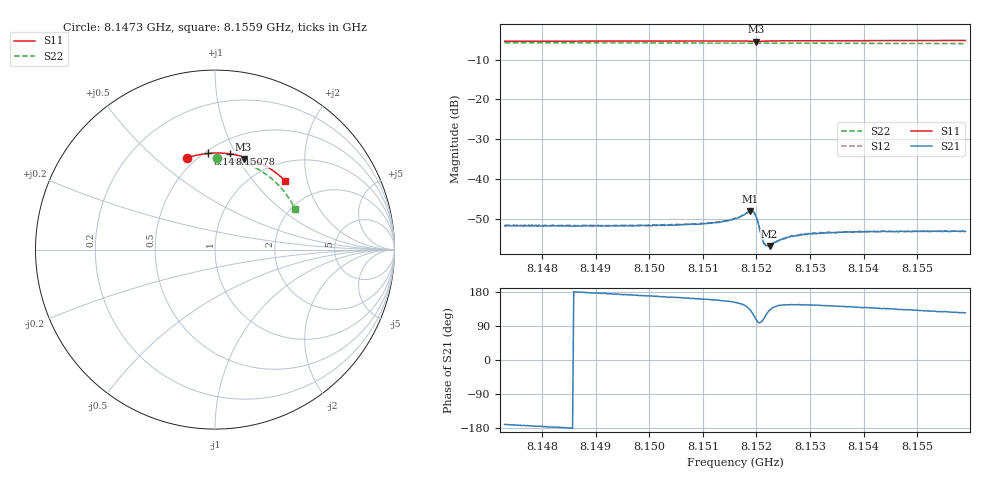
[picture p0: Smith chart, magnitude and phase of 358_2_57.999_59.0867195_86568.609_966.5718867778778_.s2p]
#  HZ  S  RI  R  50.00
! Rohde & Schwarz Vector Network Analyzer
! Rohde-Schwarz,ZNB20-2Port,1311601062101988,3.16
! Created: UTC 3/21/2024, 1:06:18 AM
! freq[Hz]  re:S11  im:S11  re:S21  im:S21  re:S12  im:S12  re:S22  im:S22
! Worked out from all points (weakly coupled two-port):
!   401 points, 8.1473 GHz to 8.1559 GHz, reference 50 ohm
!   highest |S21| = -48.00 dB at 8.15188 GHz (marker M1); lowest = -56.6 dB at 8.15224 GHz (marker M2)
!   lowest |S11| = -5.5 dB at 8.15199 GHz (marker M3), VSWR 3.26, Z = 37.4 + j52.5 ohm
!   |S11| at or under -10 dB: nowhere
!   |S22| runs from -6.0 to -5.8 dB; largest |S21 - S12| = 0.00012
!   S11 on the Smith chart (normalised r, x): 8.1473 GHz: 0.45, +0.64; 8.14904 GHz: 0.52, +0.78; 8.15078 GHz: 0.63, +0.95; 8.1559 GHz: 1.35, +1.48
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8.147304e9  -0.1575 0.5106  -0.00259 -0.00046  -0.00261 -0.000395  0.00941 0.513
8.148743e9  -0.0598 0.5335  -0.00259 7.3e-05  -0.00265 6.94e-05  0.1025 0.501
8.149044e9  -0.0389 0.536  -0.00262 0.000155  -0.00267 0.000211  0.1213 0.4964
8.150182e9  0.0403 0.5379  -0.00262 0.000587  -0.00263 0.000645  0.1907 0.4724
8.150784e9  0.0821 0.534  -0.00263 0.00083  -0.00265 0.000852  0.2257 0.4559
8.151299e9  0.1182 0.5278  -0.00267 0.00111  -0.00273 0.00117  0.2543 0.4395
8.1516e9  0.1397 0.5222  -0.00286 0.00154  -0.00287 0.00157  0.2704 0.4292
8.151707e9  0.1476 0.5193  -0.00292 0.0018  -0.00292 0.00184  0.2762 0.4252
8.151879e9  0.1592 0.5112  -0.0027 0.00292  -0.00268 0.00298  0.2851 0.4188
8.151944e9  0.1603 0.5068  -0.0019 0.00344  -0.00188 0.00348  0.2882 0.4163
8.151987e9  0.1594 0.5056  -0.00111 0.00332  -0.00109 0.0034  0.2902 0.4149
8.15203e9  0.159 0.5068  -0.000476 0.00286  -0.000505 0.00286  0.2923 0.4134
8.152094e9  0.1616 0.5095  -0.000381 0.00193  -0.000329 0.00194  0.2957 0.411
8.152137e9  0.1648 0.5107  -0.000519 0.0015  -0.0005 0.00151  0.2978 0.4093
8.15218e9  0.1682 0.5113  -0.000738 0.00129  -0.000698 0.00131  0.3001 0.4079
8.152244e9  0.1737 0.5111  -0.000972 0.00111  -0.000992 0.00113  0.3034 0.4053
8.152416e9  0.1867 0.5082  -0.00139 0.00102  -0.0014 0.00104  0.3119 0.3986
8.15261e9  0.2003 0.5041  -0.00157 0.00108  -0.00159 0.0011  0.3213 0.3906
8.153039e9  0.2289 0.4931  -0.00169 0.00118  -0.00171 0.00126  0.3414 0.3722
8.153705e9  0.2705 0.4726  -0.00168 0.00139  -0.0017 0.00141  0.3702 0.3419
8.154478e9  0.3161 0.4448  -0.00159 0.00158  -0.0016 0.0016  0.4004 0.3039
8.155896e9  0.3915 0.3828  -0.00127 0.00185  -0.00126 0.00186  0.4451 0.2277
